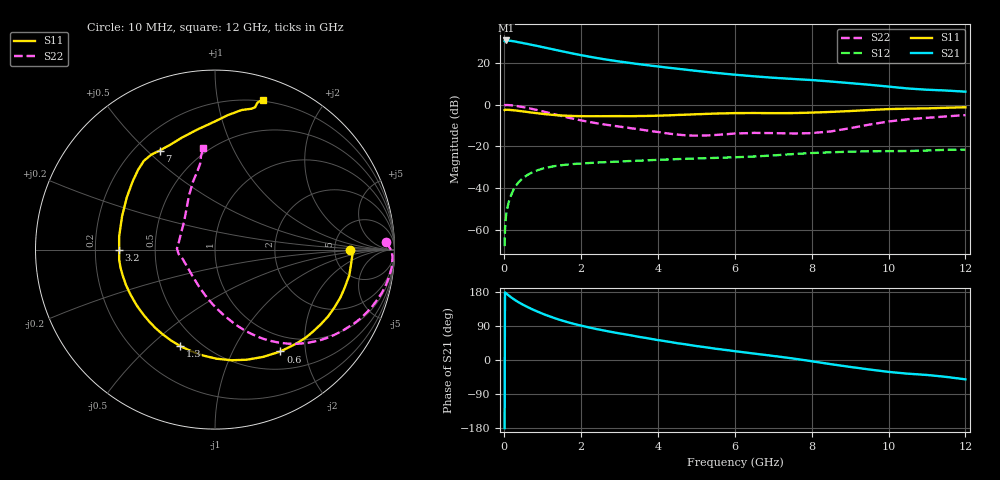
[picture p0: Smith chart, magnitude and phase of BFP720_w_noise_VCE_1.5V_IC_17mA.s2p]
! Infineon Technologies  Discrete & RF Semiconductors
! BFP720
! VCE =  1.5 V,  IC =  17 mA
! Common Emitter S-Parameters:  Aug 2012
# GHz  S  MA  R  50
!  f  S11  S21  S12  S22
! GHz  MAG  ANG  MAG  ANG  MAG  ANG  MAG  ANG
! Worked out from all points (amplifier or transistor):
!   105 points, 10 MHz to 12 GHz, reference 50 ohm
!   highest |S21| = 31.0 dB at 50 MHz (marker M1)
!   |S21| within 3 dB of that: start of sweep to 948.4 MHz
!   unconditionally stable (mu >= 1): start of sweep to 12.61 MHz; 4.577 GHz to 11.24 GHz
!   at 300 MHz: K = 0.13, MSG = 34.7 dB, |S12| = -39.0 dB
!   at 3.6 GHz: K = 0.86, MSG = 23.1 dB, |S12| = -26.7 dB
!   at 12 GHz: K = 0.82, MSG = 13.9 dB, |S12| = -21.5 dB
!   lowest NFmin = 0.67 dB at 450 MHz
!   S11 on the Smith chart (normalised r, x): 10 MHz: 7.06, -0.13; 600 MHz: 0.75, -1.56; 1.3 GHz: 0.39, -0.63; 3.2 GHz: 0.30, -0.00; 7 GHz: 0.30, +0.55; 12 GHz: 0.19, +1.35
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0.01  0.752 -0.3  34.28 -179.8  0.0004 -57.1  0.955 2.4
0.02  0.7664 -2.1  35.07 178.3  0.001 95.9  0.9849 -0.5
0.05  0.7629 -5.3  35.37 175.8  0.0023 94.1  0.9899 -2.5
0.1  0.7617 -10.7  35.29 171.8  0.0039 85.3  0.9894 -5.9
0.2  0.7479 -21.0  34.28 163.9  0.0075 79.6  0.9715 -11.9
0.3  0.732 -30.6  33.14 157.0  0.0112 75.1  0.944 -17.5
0.45  0.7044 -44.1  31.17 148.1  0.0161 68.9  0.8971 -25.3
0.6  0.6745 -57.3  29.26 140.2  0.0205 63.0  0.8427 -32.4
0.9  0.6233 -81.6  25.62 126.3  0.0274 53.1  0.7341 -45.0
1.1  0.5936 -96.5  23.36 118.1  0.0308 47.5  0.6622 -52.3
1.3  0.5714 -109.8  21.33 110.9  0.0335 43.0  0.5963 -58.6
1.7  0.5434 -132.1  17.8 98.4  0.0371 36.2  0.4855 -69.2
2.1  0.5334 -148.4  15.07 88.5  0.0394 31.7  0.4065 -77.5
2.6  0.534 -163.7  12.53 77.7  0.0418 28.0  0.3387 -86.6
3.2  0.534 -179.6  10.39 66.8  0.0443 25.1  0.2827 -96.8
4.1  0.5529 157.9  8.168 51.1  0.048 21.6  0.2153 -117.0
5  0.5953 140.5  6.567 36.8  0.0514 18.4  0.1818 -149.6
6.1  0.6341 127.7  5.221 22.0  0.0554 16.0  0.2057 -174.9
7  0.6323 119.2  4.489 10.7  0.0608 14.9  0.2092 173.9
8.5  0.6767 98.2  3.642 -11.0  0.0723 6.0  0.23 138.9
10.5  0.8108 75.5  2.477 -36.1  0.0776 -6.4  0.4495 102.5
12  0.877 72.4  2.075 -51.0  0.0837 -14.9  0.5671 96.6
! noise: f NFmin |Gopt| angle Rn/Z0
0.45  0.67  0.19  1  0.39
1.8  0.74  0.2  11  0.14
2.4  0.79  0.19  17  0.43
5.5  1.01  0.11  -46  0.18
10  1.18  0.45  -73  0.29
